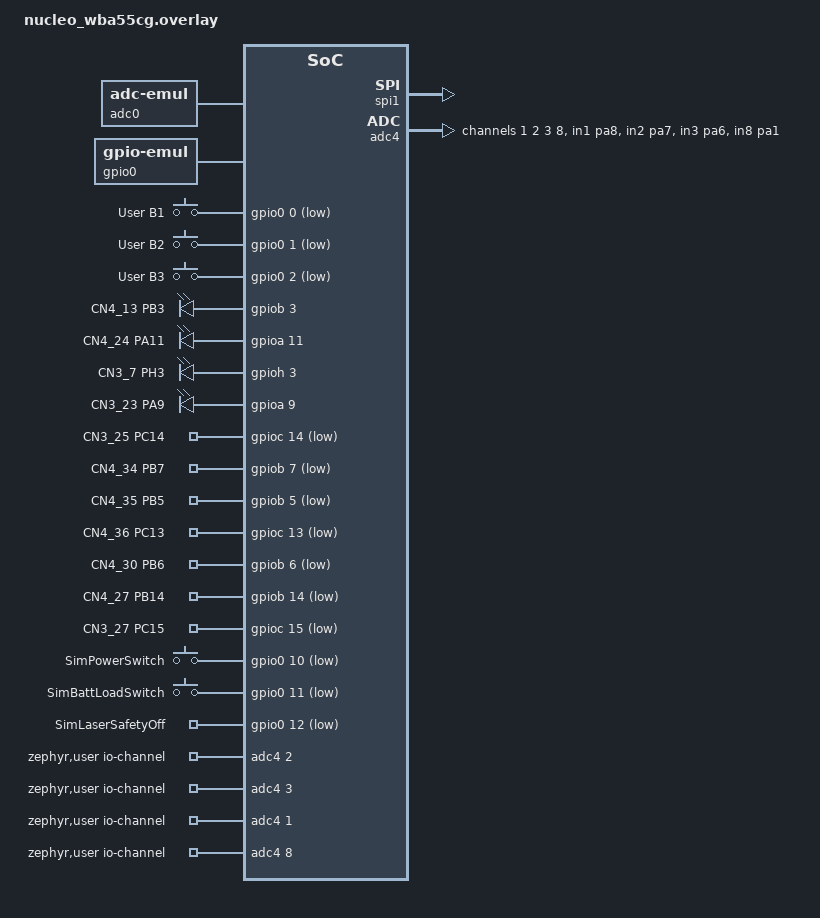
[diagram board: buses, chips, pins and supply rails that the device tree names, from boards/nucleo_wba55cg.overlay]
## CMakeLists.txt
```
# SPDX-License-Identifier: Apache-2.0

cmake_minimum_required(VERSION 3.20.0)
find_package(Zephyr REQUIRED HINTS $ENV{ZEPHYR_BASE})
project(spi_test)

target_sources(app PRIVATE
  src/main.c 
)
```

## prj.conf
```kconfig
CONFIG_SERIAL=y
CONFIG_UART_ASYNC_API=y
CONFIG_SPI=y
CONFIG_SPI_ASYNC=y
CONFIG_ADC=y
CONFIG_LOG=y
CONFIG_SHELL=y
CONFIG_GPIO=y
#
# C++ Language Support
#
CONFIG_CPP=y
# CONFIG_STD_CPP98 is not set
# CONFIG_STD_CPP11 is not set
# CONFIG_STD_CPP14 is not set
CONFIG_STD_CPP11=y
CONFIG_REQUIRES_FULL_LIBCPP=y
CONFIG_EXTERNAL_LIBCPP=y
CONFIG_NUM_PREEMPT_PRIORITIES=8
CONFIG_NUM_COOP_PRIORITIES=8
CONFIG_MAIN_THREAD_PRIORITY=0
```

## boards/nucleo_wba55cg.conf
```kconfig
CONFIG_SPI_STM32_DMA=y
#CONFIG_DMA_STM32U5=y
CONFIG_GPIO=y
CONFIG_SPI_ASYNC=y
```

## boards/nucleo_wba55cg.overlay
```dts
/ {
    adc0: adc {
        compatible = "zephyr,adc-emul";
        nchannels = <8>;
        #io-channel-cells = <1>;
        status = "okay";
    };

    gpio0: gpio {
        compatible = "zephyr,gpio-emul";
        ngpios = <16>;  
        #gpio-cells = <2>;
        gpio-controller;
        status = "okay";
    };

    gpio_sim: gpio_sim {
        compatible = "gpio-keys";
        status = "okay";
		sim_button_0: button_0 {
			label = "User B1";
			gpios = <&gpio0 0 (GPIO_ACTIVE_LOW | GPIO_PULL_UP)>;
			zephyr,code = <INPUT_KEY_0>;
		};
		sim_button_1: button_1 {
			label = "User B2";
			gpios = <&gpio0 1 (GPIO_ACTIVE_LOW | GPIO_PULL_UP)>;
			zephyr,code = <INPUT_KEY_1>;
		};
		sim_button_2: button_2 {
			label = "User B3";
			gpios = <&gpio0 2 (GPIO_ACTIVE_LOW | GPIO_PULL_UP)>;
			zephyr,code = <INPUT_KEY_2>;
		};
    };
    digital_out: led{ // digital outputs without PWM
		compatible = "gpio-leds";
		nucleo_cn4_13: nucleo_cn4_13 {  // Display.DCX (1==data,0=command)
			gpios = <&gpiob 3 GPIO_ACTIVE_HIGH>;
			label = "CN4_13 PB3";
		};
		nucleo_cn4_24: nucleo_cn4_24 { //Display.Backlight
			gpios = <&gpioa 11 GPIO_ACTIVE_HIGH>;
			label = "CN4_24 PA11";
		};
		nucleo_cn3_7: nucleo_cn3_7 { //haptic.ctrl
			gpios = <&gpioh 3 GPIO_ACTIVE_HIGH>;
			label = "CN3_7 PH3";
		};
		nucleo_cn3_23: nucleo_cn3_23 { //Display.Reset
			gpios = <&gpioa 9 GPIO_ACTIVE_HIGH>;
			label = "CN3_23 PA9";
		};
    };
   
	gpio_keys {
		compatible = "gpio-keys";
        nucleo_cn3_25: nucleo_cn3_25 {
			label = "CN3_25 PC14";
			gpios = <&gpioc 14 (GPIO_ACTIVE_LOW | GPIO_PULL_UP)>;

		};
		nucleo_cn4_34: nucleo_cn4_34 {
			label = "CN4_34 PB7";
			gpios = <&gpiob 7 (GPIO_ACTIVE_LOW | GPIO_PULL_UP)>;
		};
		nucleo_cn4_35: nucleo_cn4_35 {
			label = "CN4_35 PB5";
			gpios = <&gpiob 5 (GPIO_ACTIVE_LOW | GPIO_PULL_UP)>;
		};
		nucleo_cn4_36: nucleo_cn4_36 {
			label = "CN4_36 PC13";
			gpios = <&gpioc 13 (GPIO_ACTIVE_LOW | GPIO_PULL_UP)>;
		};
		nucleo_cn4_30: nucleo_cn4_30 {
			label = "CN4_30 PB6";
			gpios = <&gpiob 6 (GPIO_ACTIVE_LOW | GPIO_PULL_UP)>;
		};
		nucleo_cn4_27: nucleo_cn4_27 {
			label = "CN4_27 PB14";
			gpios = <&gpiob 14 (GPIO_ACTIVE_LOW | GPIO_PULL_UP)>;
		};
		nucleo_cn3_27: nucleo_cn3_27 {
			label = "CN3_27 PC15";
			gpios = <&gpioc 15 (GPIO_ACTIVE_LOW | GPIO_PULL_UP)>;
		};
        sim_power_switch: sim_power_switch {
			label = "SimPowerSwitch";
			gpios = <&gpio0 10 (GPIO_ACTIVE_LOW | GPIO_PULL_UP)>;
        };
        sim_batt_load_switch: sim_batt_load_switch{
			label = "SimBattLoadSwitch";
			gpios = <&gpio0 11 (GPIO_ACTIVE_LOW | GPIO_PULL_UP)>;
        };
        sim_laser_safety_off: sim_laser_safety_off{
			label = "SimLaserSafetyOff";
			gpios = <&gpio0 12 (GPIO_ACTIVE_LOW | GPIO_PULL_UP)>;
        };
	};

    zephyr,user {
        io-channels = <&adc4 2>, <&adc4 3>, <&adc4 1>, <&adc4 8>;
    };
    aliases {
        mt-pwr-switch-ctrl = &sim_power_switch;
        mt-display-dcx = &nucleo_cn4_13;
        mt-display-backlight = &nucleo_cn4_24;
        mt-display-reset = &nucleo_cn3_23;
        mt-batt-load-switch = &sim_batt_load_switch;
        mt-laser-safety-off = &sim_laser_safety_off;

		mt-keypad-power = &sim_button_0;
        mt-keypad-key1 = &sim_button_1;
        mt-keypad-key2 = &nucleo_cn4_34;
        mt-keypad-key3 = &nucleo_cn4_35;
        mt-keypad-key4 = &nucleo_cn4_36;
        mt-keypad-key5 = &nucleo_cn4_30;
        mt-keypad-measure = &nucleo_cn4_27;

        mt-i2c = &i2c1;
		mt-display-spi = &spi1;
	};
};

&spi1{
	status = "okay";
	dmas = <&gpdma1 0 2 STM32_DMA_PERIPH_TX
		&gpdma1 1 1 STM32_DMA_PERIPH_RX>;
    dma-names = "tx", "rx";
};

&gpdma1 {
    status = "okay";
};
&adc4 {
    // BattTemp, Temp, BattPlus, VLD
	pinctrl-0 = <&adc4_in1_pa8>, <&adc4_in2_pa7>, <&adc4_in3_pa6>, <&adc4_in8_pa1>;
	#address-cells = <1>;
	#size-cells = <0>;


	channel@1 {
		reg = <1>;
		zephyr,gain = "ADC_GAIN_1";
		zephyr,reference = "ADC_REF_INTERNAL";
		zephyr,acquisition-time = <ADC_ACQ_TIME_MAX>;
		zephyr,resolution = <12>;
	};
	channel@2 {
		reg = <2>;
		zephyr,gain = "ADC_GAIN_1";
		zephyr,reference = "ADC_REF_INTERNAL";
		zephyr,acquisition-time = <ADC_ACQ_TIME_MAX>;
		zephyr,resolution = <12>;
	};
	channel@3 {
		reg = <3>;
		zephyr,gain = "ADC_GAIN_1";
		zephyr,reference = "ADC_REF_INTERNAL";
		zephyr,acquisition-time = <ADC_ACQ_TIME_MAX>;
		zephyr,resolution = <12>;
	};
	channel@8 {
		reg = <8>;
		zephyr,gain = "ADC_GAIN_1";
		zephyr,reference = "ADC_REF_INTERNAL";
		zephyr,acquisition-time = <ADC_ACQ_TIME_MAX>;
		zephyr,resolution = <12>;
	};
};

/*
/delete-node/ &boot_partition;
/delete-node/ &slot0_partition;
/delete-node/ &slot1_partition;
/delete-node/ &scratch_partition;
/delete-node/ &storage_partition;

&flash0 {
	partitions {
		compatible = "fixed-partitions";
		#address-cells = <1>;
		#size-cells = <1>;

		boot_partition: partition@0 {
			label = "mcuboot";
			reg = <0x00000000 DT_SIZE_K(64)>;
		};
        eeprom_partition: partition@10000 {
			label = "eeprom";
			reg = <0x00010000 DT_SIZE_K(8)>;
		};
		slot0_partition: partition@12000 {
			label = "image-0";
			reg = <0x00012000 DT_SIZE_K(948)>;
		};
		storage_partition: partition@ff000 {
			label = "storage";
			reg = <0x000ff000 DT_SIZE_K(4)>;
		};
	};
};
*/


/* 
&pinctrl {
		spi1_no_miso: spi1_no_miso {
			pinmux = <STM32_PINMUX('P', 3, GPIO)>;
		};
};
*/

/* 
&spi1{
	status = "okay";
	clock-frequency = <100000>; // 100kHz. For debugging only
	cs-gpios = <&gpiob 1 GPIO_ACTIVE_LOW>;
	pinctrl-0 = <&spi1_sck_pb4>, <&spi1_miso_pb3>, <&spi1_mosi_pa15>;
	pinctrl-names = "default";
	channel@0{
		reg = <0>;
		pinctrl-0 = <&spi1_nss_pa12>;
//		spi-max-frequency = <1000000>; // 1MHz
	};	
};	 
*/
/* 
&timers16 {
	status = "okay";
	st,prescaler = <10>;
	testpwm: pwm{
		status = "okay";
		label = "PWM test";
		pinctrl-0 = <&tim16_ch1_pa2>;
		pinctrl-names = "default";
	};
};

*/
/* does not work 
&pinctrl{
    mco_out{
        pinctrl-0 = <&rcc_mco_pa8>;
    };
};
*/
/*
MCO pin control:
    /omit-if-no-ref/ rcc_mco_pa8: rcc_mco_pa8 {
        pinmux = <STM32_PINMUX('A', 8, AF0)>;
    };

*/
//#include "simulation.overlay"
```

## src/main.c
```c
#include "zephyr/kernel.h"
#include <zephyr/drivers/spi.h>
#include <zephyr/drivers/gpio.h>

const struct device *SpiDevice = DEVICE_DT_GET(DT_ALIAS(mt_display_spi)); 
/* The devicetree node identifier for the "led0" alias. */
#define LED0_NODE DT_ALIAS(led1)
static const struct gpio_dt_spec led = GPIO_DT_SPEC_GET(LED0_NODE, gpios);

static const struct spi_config spi_cfg = {
    .frequency = 2000000U,
    .operation = SPI_OP_MODE_MASTER | SPI_TRANSFER_MSB | SPI_WORD_SET(8),
    .slave = 0,
    .cs = NULL,
};

static void spi_callback(const struct device *dev, int status, void *user_data)
{
    gpio_pin_toggle_dt(&led);
    printk("SPI transfer completed with status: %d\n", status);
}

int main(void)
{
    const struct device *spi = SpiDevice;
    int ret, ret_led;
    uint8_t testdata[255];
    for (ret = 0; ret < 255; ret++) {
        testdata[ret] = ret;
    }

    printk("spi_demo\n");
    if (!device_is_ready(SpiDevice)) {
        printk("SPI device %s is not ready\n", SpiDevice->name);
        return -1;
    }
    if (!gpio_is_ready_dt(&led)) {
        return 0;
    }

    ret_led = gpio_pin_configure_dt(&led, GPIO_OUTPUT_ACTIVE);
    if (ret_led < 0) {
        return 0;
    }

    while (1) {
        struct spi_buf tx_buf = {
            .buf = testdata,
            .len = sizeof(testdata),
        };

        struct spi_buf_set tx_bufs = {
            .buffers = &tx_buf,
            .count = 1,
        };

        ret_led = gpio_pin_toggle_dt(&led);
        if (ret_led < 0) {
            return 0;
        }

        ret = spi_transceive_cb(spi, &spi_cfg, &tx_bufs, NULL, spi_callback, NULL);
        if (ret) {
            printk("SPI write failed: %d\n", ret);
            return 0;
        }
        gpio_pin_toggle_dt(&led); // Toggle LED after SPI transfer completes
        printk("SPI write started\n");


        

        printk("SPI transfer completed\n");

        k_msleep(1000);
    }
}
```
